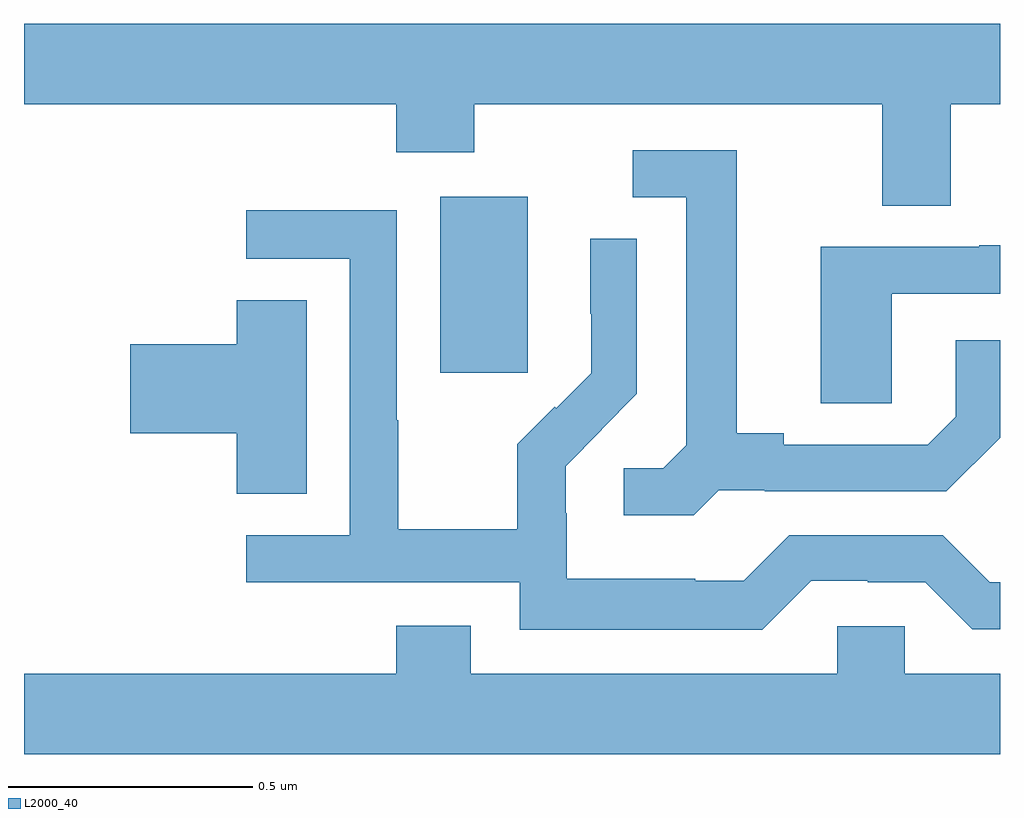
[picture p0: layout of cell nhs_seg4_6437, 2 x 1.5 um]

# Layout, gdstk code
import gdstk
lib = gdstk.Library(unit=1e-6, precision=1e-09)
def R(c, l, rs):  # rectangles x0, y0, x1, y1
    for r in rs: c.add(gdstk.rectangle(r[:2], r[2:], *l))
def P(c, l, *ps):  # polygons
    for p in ps: c.add(gdstk.Polygon(p, *l))
L2000_40 = (2000, 40)

nhs_seg4_6437 = lib.new_cell('nhs_seg4_6437')
R(nhs_seg4_6437, L2000_40, [(190.853,794.937,191.032,795.298)])
P(nhs_seg4_6437, L2000_40, [(190,795.488),(190.763,795.488),(190.763,795.389),(190.923,795.389),(190.923,795.488),(191.759,795.488),(191.759,795.28),(191.899,795.28),(191.899,795.488),(192,795.488),(192,795.652),(190,795.652)],
  [(191.424,794.697),(191.518,794.697),(191.518,794.694),(191.89,794.694),(192,794.804),(192,795.004),(191.909,795.004),(191.909,794.847),(191.852,794.79),(191.557,794.79),(191.557,794.813),(191.461,794.813),(191.461,795.393),(191.247,795.393),(191.247,795.297),(191.357,795.297),(191.357,794.789),(191.31,794.742),(191.229,794.742),(191.229,794.645),(191.372,794.645)],
  [(191.613,794.511),(191.729,794.511),(191.729,794.508),(191.847,794.508),(191.943,794.412),(192,794.412),(192,794.508),(191.979,794.508),(191.883,794.604),(191.568,794.604),(191.475,794.511),(191.375,794.511),(191.375,794.515),(191.112,794.515),(191.112,794.649),(191.11,794.649),(191.11,794.746),(191.184,794.82),(191.183,794.821),(191.256,794.894),(191.256,795.212),(191.16,795.212),(191.16,795.058),(191.162,795.058),(191.162,794.936),(191.091,794.865),(191.088,794.868),(191.011,794.791),(191.011,794.617),(190.767,794.617),(190.767,794.84),(190.764,794.84),(190.764,795.27),(190.455,795.27),(190.455,795.171),(190.668,795.171),(190.668,794.604),(190.455,794.604),(190.455,794.508),(191.016,794.508),(191.016,794.411),(191.513,794.411)],
  [(191.778,795.099),(192,795.099),(192,795.199),(191.957,795.199),(191.957,795.195),(191.633,795.195),(191.633,794.875),(191.778,794.875)],
  [(190.579,795.086),(190.436,795.086),(190.436,794.996),(190.218,794.996),(190.218,794.813),(190.436,794.813),(190.436,794.689),(190.579,794.689)],
  [(192,794.32),(191.805,794.32),(191.805,794.418),(191.667,794.418),(191.667,794.32),(190.915,794.32),(190.915,794.419),(190.763,794.419),(190.763,794.32),(190,794.32),(190,794.156),(192,794.156)])

lib.write_gds('nhs_seg4_6437.gds')
